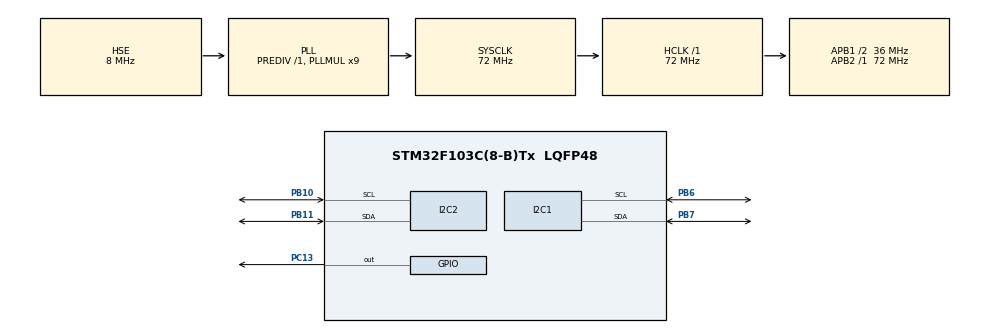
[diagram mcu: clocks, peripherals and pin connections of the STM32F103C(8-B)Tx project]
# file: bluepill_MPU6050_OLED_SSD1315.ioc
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I2C1.I2C_Mode=I2C_Fast
I2C2.I2C_Mode=I2C_Fast
Mcu.Family=STM32F1
Mcu.Name=STM32F103C(8-B)Tx
Mcu.Package=LQFP48
NVIC.PriorityGroup=NVIC_PRIORITYGROUP_4
PA13.Mode=Serial_Wire
PA13.Signal=SYS_JTMS-SWDIO
PA14.Mode=Serial_Wire
PA14.Signal=SYS_JTCK-SWCLK
PB10.Mode=I2C
PB10.Signal=I2C2_SCL
PB11.Mode=I2C
PB11.Signal=I2C2_SDA
PB6.Mode=I2C
PB6.Signal=I2C1_SCL
PB7.Mode=I2C
PB7.Signal=I2C1_SDA
PC13-TAMPER-RTC.Signal=GPIO_Output
PD0-OSC_IN.Mode=HSE-External-Oscillator
PD0-OSC_IN.Signal=RCC_OSC_IN
PD1-OSC_OUT.Mode=HSE-External-Oscillator
PD1-OSC_OUT.Signal=RCC_OSC_OUT
ProjectManager.HeapSize=0x200
ProjectManager.StackSize=0x400
ProjectManager.TargetToolchain=STM32CubeIDE
RCC.AHBFreq_Value=72000000
RCC.APB1CLKDivider=RCC_HCLK_DIV2
RCC.APB1Freq_Value=36000000
RCC.APB1TimFreq_Value=72000000
RCC.APB2Freq_Value=72000000
RCC.APB2TimFreq_Value=72000000
RCC.HCLKFreq_Value=72000000
RCC.PLLMUL=RCC_PLL_MUL9
RCC.PLLSourceVirtual=RCC_PLLSOURCE_HSE
RCC.SYSCLKFreq_VALUE=72000000
RCC.SYSCLKSource=RCC_SYSCLKSOURCE_PLLCLK
RCC.USBFreq_Value=72000000
board=custom

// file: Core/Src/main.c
/* USER CODE BEGIN Header */
/**
  ******************************************************************************
  * @file           : main.c
  * @brief          : Main program body
  ******************************************************************************
  * @attention
  *
  * <h2><center>&copy; Copyright (c) 2022 STMicroelectronics.
  * All rights reserved.</center></h2>
  *
  * This software component is licensed by ST under BSD 3-Clause license,
  * the "License"; You may not use this file except in compliance with the
  * License. You may obtain a copy of the License at:
  *                        opensource.org/licenses/BSD-3-Clause
  *
  ******************************************************************************
  */
/* USER CODE END Header */
#include "main.h"
#include "i2c.h"
#include "gpio.h"

/* USER CODE BEGIN Includes */
#include "fonts.h"
#include "ssd1306.h"
#include "stdio.h"
/* USER CODE END Includes */

void SystemClock_Config(void);

int main(void)
{

  /* MCU Configuration--------------------------------------------------------*/

  /* Reset of all peripherals, Initializes the Flash interface and the Systick. */
  HAL_Init();

  /* Configure the system clock */
  SystemClock_Config();

  /* Initialize all configured peripherals */
  MX_GPIO_Init();
  MX_I2C1_Init();
  MX_I2C2_Init();
  /* USER CODE BEGIN 2 */
  SSD1306_Init();
  MPU6050_INIT();
  uint8_t test_Who_Am_I = 0;
  HALIIC_ReadByteFromSlave(MPU_ADDRESS,MPU6050_WHO_AM_I,&test_Who_Am_I);
  if(test_Who_Am_I != 0x68){
	  for(int i = 0; i < 5; i++){
		  HAL_GPIO_TogglePin(GPIOC, GPIO_PIN_13);
		  HAL_Delay(1000);
	  }
  }

  char buf[9];
  char temp[6];
  	SSD1306_GotoXY (0,0);
	SSD1306_Puts ("accelX:", &Font_7x10, 1);
	SSD1306_GotoXY (56, 0);
	SSD1306_Puts ("0", &Font_7x10, 1);
	SSD1306_GotoXY (0, 10);
	SSD1306_Puts ("accelY:", &Font_7x10, 1);
	SSD1306_GotoXY (56, 10);
	SSD1306_Puts ("0", &Font_7x10, 1);
	SSD1306_GotoXY (0, 20);
	SSD1306_Puts ("accelZ:", &Font_7x10, 1);
	SSD1306_GotoXY (56, 20);
	SSD1306_Puts ("0", &Font_7x10, 1);
	SSD1306_GotoXY (0, 30);
	SSD1306_Puts ("angleX:", &Font_7x10, 1);
	SSD1306_GotoXY (56, 30);
	SSD1306_Puts ("0", &Font_7x10, 1);
	SSD1306_GotoXY (0, 40);
	SSD1306_Puts ("angleY:", &Font_7x10, 1);
	SSD1306_GotoXY (56, 40);
	SSD1306_Puts ("0", &Font_7x10, 1);
	SSD1306_GotoXY (0, 50);
	SSD1306_Puts ("angleZ:", &Font_7x10, 1);
	SSD1306_GotoXY (56, 50);
	SSD1306_Puts ("0", &Font_7x10, 1);
	SSD1306_UpdateScreen();

  /* USER CODE END 2 */

  /* Infinite loop */
  /* USER CODE BEGIN WHILE */
  while (1)
  {
	  SSD1306_GotoXY (56, 0);
	  SSD1306_Puts ("          ", &Font_7x10, 1);
	  SSD1306_GotoXY (56, 10);
	  SSD1306_Puts ("          ", &Font_7x10, 1);
	  SSD1306_GotoXY (56, 20);
	  SSD1306_Puts ("          ", &Font_7x10, 1);
	  SSD1306_GotoXY (56, 30);
	  SSD1306_Puts ("          ", &Font_7x10, 1);
	  SSD1306_GotoXY (56, 40);
	  SSD1306_Puts ("          ", &Font_7x10, 1);
	  SSD1306_GotoXY (56, 50);
	  SSD1306_Puts ("          ", &Font_7x10, 1);
	  // ACCELX
	  	sprintf(buf,"%f",MPU6050_GET_DATA(MPU_ACCEL_XOUT_H)/16384.0);
		SSD1306_GotoXY (56, 0);
		SSD1306_Puts (buf, &Font_7x10, 1);
	  // ACCELY
		sprintf(buf,"%f",MPU6050_GET_DATA(MPU_ACCEL_YOUT_H)/16384.0);
		SSD1306_GotoXY (56, 10);
		SSD1306_Puts (buf, &Font_7x10, 1);
	  // ACCELZ
		sprintf(buf,"%f",MPU6050_GET_DATA(MPU_ACCEL_ZOUT_H)/16384.0);
		SSD1306_GotoXY (56, 20);
		SSD1306_Puts (buf, &Font_7x10, 1);
	  // GYROX
		itoa((int)MPU6050_GET_DATA(MPU_GYRO_XOUT_H)+19,buf,10);
		SSD1306_GotoXY (56, 30);
		SSD1306_Puts (buf, &Font_7x10, 1);
	  // GYROY
		itoa((int)MPU6050_GET_DATA(MPU_GYRO_YOUT_H)-143,buf,10);
		SSD1306_GotoXY (56, 40);
		SSD1306_Puts (buf, &Font_7x10, 1);
	  // GYROZ
		itoa((int)MPU6050_GET_DATA(MPU_GYRO_ZOUT_H)+20,buf,10);
		SSD1306_GotoXY (56, 50);
		SSD1306_Puts (buf, &Font_7x10, 1);
	  // TEMP
		sprintf(temp,"%f",MPU6050_GET_DATA(MPU_TEMP_OUT_H)/340.0 + 36.53);
		SSD1306_GotoXY (84, 40);
		SSD1306_Puts (temp, &Font_7x10, 1);
	  SSD1306_UpdateScreen();
	  HAL_Delay (50);
    /* USER CODE END WHILE */

  }
}

void SystemClock_Config(void)
{
  RCC_OscInitTypeDef RCC_OscInitStruct = {0};
  RCC_ClkInitTypeDef RCC_ClkInitStruct = {0};

  /** Initializes the RCC Oscillators according to the specified parameters
  * in the RCC_OscInitTypeDef structure.
  */
  RCC_OscInitStruct.OscillatorType = RCC_OSCILLATORTYPE_HSE;
  RCC_OscInitStruct.HSEState = RCC_HSE_ON;
  RCC_OscInitStruct.HSEPredivValue = RCC_HSE_PREDIV_DIV1;
  RCC_OscInitStruct.HSIState = RCC_HSI_ON;
  RCC_OscInitStruct.PLL.PLLState = RCC_PLL_ON;
  RCC_OscInitStruct.PLL.PLLSource = RCC_PLLSOURCE_HSE;
  RCC_OscInitStruct.PLL.PLLMUL = RCC_PLL_MUL9;
  if (HAL_RCC_OscConfig(&RCC_OscInitStruct) != HAL_OK)
  {
    Error_Handler();
  }
  /** Initializes the CPU, AHB and APB buses clocks
  */
  RCC_ClkInitStruct.ClockType = RCC_CLOCKTYPE_HCLK|RCC_CLOCKTYPE_SYSCLK
                              |RCC_CLOCKTYPE_PCLK1|RCC_CLOCKTYPE_PCLK2;
  RCC_ClkInitStruct.SYSCLKSource = RCC_SYSCLKSOURCE_PLLCLK;
  RCC_ClkInitStruct.AHBCLKDivider = RCC_SYSCLK_DIV1;
  RCC_ClkInitStruct.APB1CLKDivider = RCC_HCLK_DIV2;
  RCC_ClkInitStruct.APB2CLKDivider = RCC_HCLK_DIV1;

  if (HAL_RCC_ClockConfig(&RCC_ClkInitStruct, FLASH_LATENCY_2) != HAL_OK)
  {
    Error_Handler();
  }
}

void Error_Handler(void)
{
  __disable_irq();
  while (1)
  {
  }
}

/************************ (C) COPYRIGHT STMicroelectronics *****END OF FILE****/
